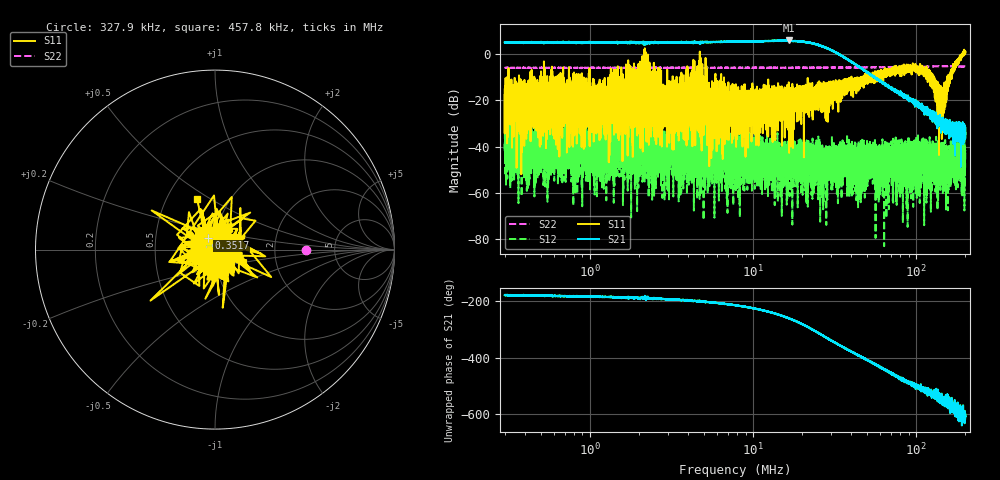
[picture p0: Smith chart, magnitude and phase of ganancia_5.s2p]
# Hz S DB R 50
! CMT, M5065, 19127446, 24.2.4/2
! Date: 11/1/2024 4:16:48 PM
! Data: Format (Calibration Info)
! Freq	S11:dB/Ang(F2)	S21:dB/Ang(F2)	S12:dB/Ang(F2)	S22:dB/Ang(F2)
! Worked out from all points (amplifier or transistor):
!   9000 points, 300 kHz to 200 MHz, reference 50 ohm
!   highest |S21| = 6.0 dB at 16.55 MHz (marker M1)
!   |S21| within 3 dB of that: start of sweep to 27.45 MHz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
!   unconditionally stable (mu >= 1): start of sweep to 2.148 MHz; 2.261 MHz to 4.711 MHz; 4.716 MHz to 189.5 MHz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
!   at 886.8 kHz: K = 18.82, MAG = 6.4 dB, |S12| = -39.2 dB
!   at 7.749 MHz: K = 21.48, MAG = 6.9 dB, |S12| = -40.9 dB
!   at 200 MHz: K = -627.18, MSG = 3.7 dB, |S12| = -41.9 dB
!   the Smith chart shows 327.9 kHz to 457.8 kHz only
!   S11 on the Smith chart (normalised r, x): 327.9 kHz: 0.93, -0.27; 351.7 kHz: 0.92, +0.12; 457.8 kHz: 0.71, +0.44
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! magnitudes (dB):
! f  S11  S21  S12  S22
! 300 kHz  -17.7  5.1  -38.8  -5.9
! 327.9 kHz  -16.8  5.1  -47.3  -5.9
! 351.7 kHz  -22.6  5.1  -43.6  -5.9
! 457.8 kHz  -10.5  5.1  -37.4  -5.9
! 886.8 kHz  -34.9  5.1  -39.2  -5.9
! 1.275 MHz  -29.3  5.1  -38.1  -5.9
! 1.362 MHz  -23.6  5.0  -46.5  -5.9
! 2.043 MHz  -26.2  5.0  -31.4  -5.8
! 2.182 MHz  -15.0  5.0  -44.9  -5.8
! 2.621 MHz  -5.8  4.7  -34.8  -5.9
! 3.535 MHz  -17.0  4.9  -44.7  -5.9
! 3.842 MHz  -14.4  5.1  -45.4  -5.9
! 4.426 MHz  -19.3  5.1  -46.7  -5.9
! 4.796 MHz  -38.2  5.3  -47.4  -5.9
! 7.749 MHz  -16.2  5.5  -40.9  -5.8
! 16.55 MHz  -12.2  6.0  -42.4  -5.8
! 22.91 MHz  -14.1  4.9  -51.7  -5.8
! 67.71 MHz  -8.4  -13.9  -39.4  -5.5
! 115.3 MHz  -7.7  -24.0  -49.6  -5.4
! 142.4 MHz  -22.5  -30.8  -50.6  -5.2
! 168.9 MHz  -6.1  -33.9  -44.0  -5.2
! 200 MHz  1.0  -34.6  -41.9  -5.3
